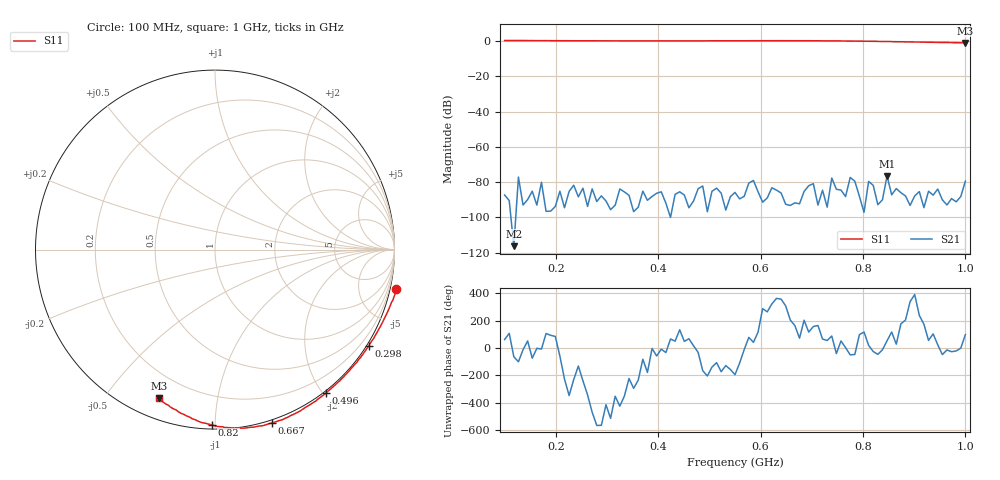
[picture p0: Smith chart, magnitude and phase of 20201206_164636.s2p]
# HZ S RI R 50
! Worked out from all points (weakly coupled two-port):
!   101 points, 100 MHz to 1 GHz, reference 50 ohm
!   highest |S21| = -76.52 dB at 847 MHz (marker M1); lowest = -116.3 dB at 118 MHz (marker M2)
!   lowest |S11| = -1.1 dB at 1 GHz (marker M3), VSWR 16.21, Z = 4.55 - j34.4 ohm
!   |S11| at or under -10 dB: nowhere
!   S12 and S22 are empty: the file has one direction only
!   S11 on the Smith chart (normalised r, x): 100 MHz: -1.29, -9.11; 298 MHz: -0.07, -3.48; 496 MHz: -0.03, -2.04; 667 MHz: -0.02, -1.38; 820 MHz: 0.02, -0.98; 1 GHz: 0.09, -0.69
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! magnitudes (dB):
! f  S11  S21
! 100 MHz  0.3  -87.3
! 118 MHz  0.3  -116.3
! 127 MHz  0.3  -77.2
! 136 MHz  0.3  -93.0
! 253 MHz  0.1  -83.5
! 298 MHz  0.1  -90.7
! 406 MHz  0.1  -85.5
! 496 MHz  0.1  -96.8
! 550 MHz  0.1  -85.9
! 667 MHz  0.1  -91.8
! 703 MHz  0.1  -80.9
! 730 MHz  0.1  -94.2
! 739 MHz  0.1  -77.7
! 748 MHz  0.0  -84.1
! 766 MHz  0.0  -88.2
! 775 MHz  0.0  -77.4
! 784 MHz  -0.1  -79.5
! 820 MHz  -0.2  -81.9
! 838 MHz  -0.3  -90.0
! 847 MHz  -0.3  -76.5
! 856 MHz  -0.4  -87.2
! 1 GHz  -1.1  -79.4
